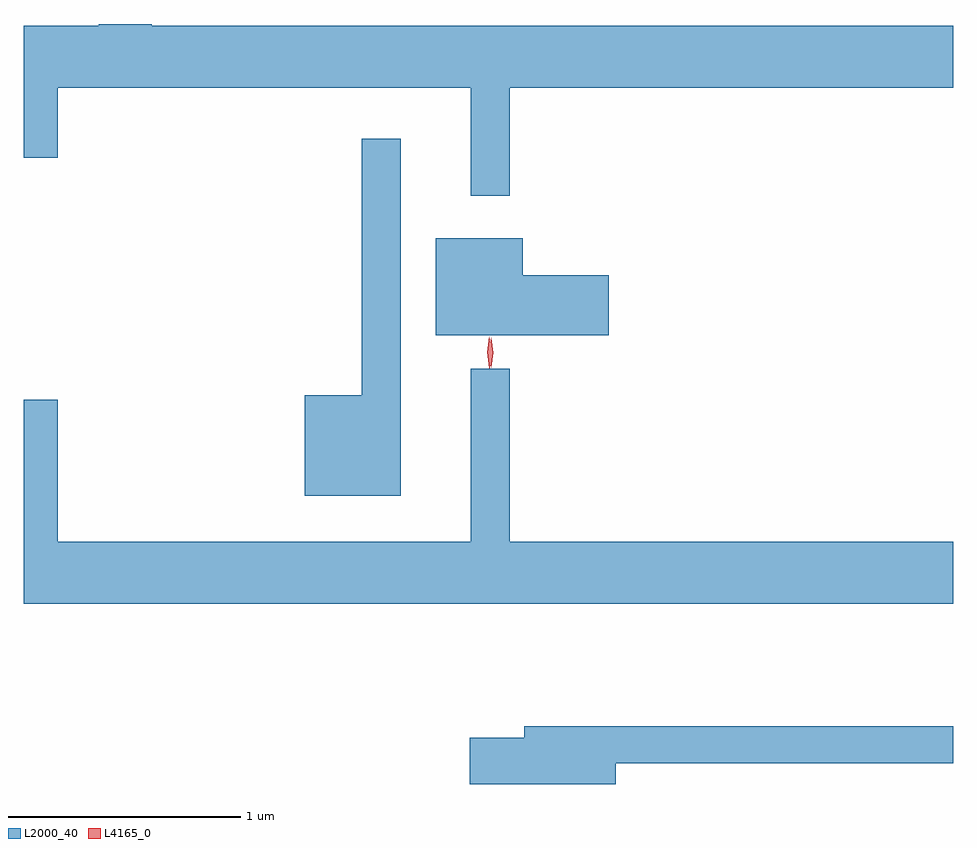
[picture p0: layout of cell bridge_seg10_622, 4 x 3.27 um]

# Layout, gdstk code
import gdstk
lib = gdstk.Library(unit=1e-6, precision=1e-09)
def P(c, l, *ps):  # polygons
    for p in ps: c.add(gdstk.Polygon(p, *l))
L2000_40 = (2000, 40)
L4165_0 = (4165, 0)

bridge_seg10_622 = lib.new_cell('bridge_seg10_622')
P(bridge_seg10_622, L2000_40, [(716.789,2089.496),(718.697,2089.496),(718.697,2089.764),(715.249,2089.764),(715.249,2089.771),(715.021,2089.771),(715.021,2089.764),(714.697,2089.764),(714.697,2089.196),(714.844,2089.196),(714.844,2089.496),(716.621,2089.496),(716.621,2089.033),(716.789,2089.033)],
  [(716.319,2089.278),(716.151,2089.278),(716.151,2088.174),(715.906,2088.174),(715.906,2087.741),(716.319,2087.741)],
  [(717.214,2088.689),(716.844,2088.689),(716.844,2088.849),(716.471,2088.849),(716.471,2088.431),(717.214,2088.431)],
  [(718.697,2087.544),(716.789,2087.544),(716.789,2088.288),(716.621,2088.288),(716.621,2087.544),(714.844,2087.544),(714.844,2088.154),(714.697,2088.154),(714.697,2087.276),(718.697,2087.276)],
  [(717.244,2086.591),(718.697,2086.591),(718.697,2086.749),(716.851,2086.749),(716.851,2086.699),(716.616,2086.699),(716.616,2086.501),(717.244,2086.501)])
P(bridge_seg10_622, L4165_0, [(716.708,2088.293),(716.708,2088.294),(716.698,2088.356),(716.708,2088.419),(716.708,2088.42),(716.709,2088.419),(716.718,2088.356),(716.709,2088.294)],
  [(716.701,2088.29),(716.701,2088.29),(716.691,2088.358),(716.7,2088.425),(716.701,2088.426),(716.701,2088.425),(716.711,2088.358),(716.702,2088.29)])

lib.write_gds('bridge_seg10_622.gds')
